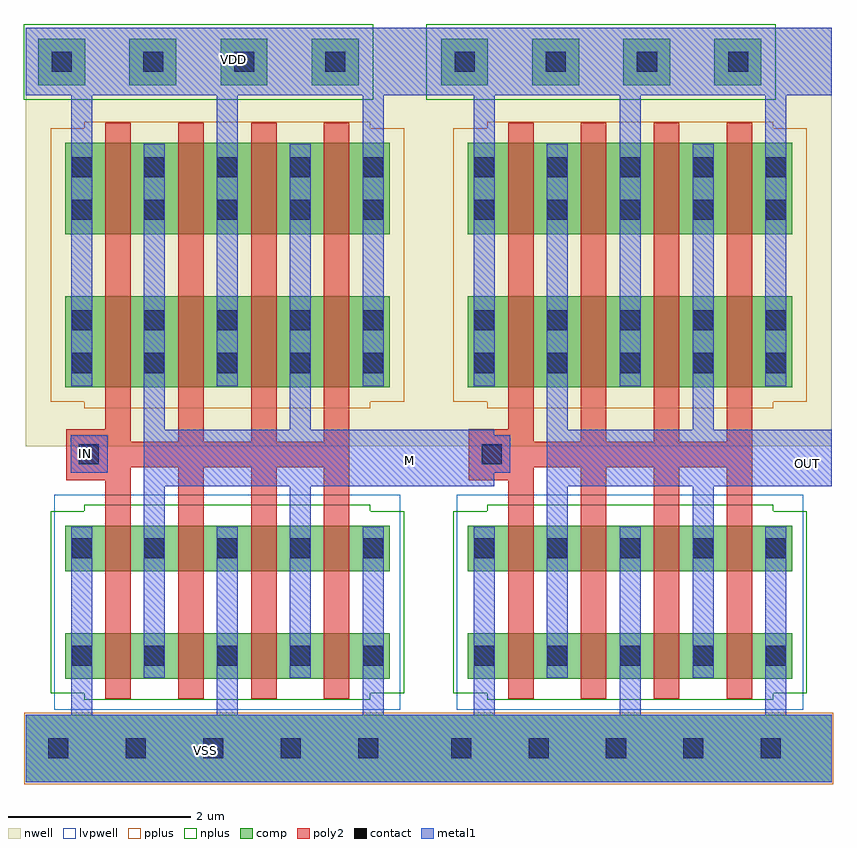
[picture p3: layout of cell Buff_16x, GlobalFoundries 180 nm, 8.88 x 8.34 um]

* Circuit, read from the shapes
.subckt Buff_16x IN M OUT VDD VSS
XM1 M IN VSS VSS nfet_03v3 w=0.5u l=0.28u m=8
XM2 OUT M VSS VSS nfet_03v3 w=0.5u l=0.28u m=8
XM3 M IN VDD VDD pfet_03v3 w=1u l=0.28u m=8
XM4 OUT M VDD VDD pfet_03v3 w=1u l=0.28u m=8
.ends

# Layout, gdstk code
import gdstk
lib = gdstk.Library(unit=1e-6, precision=1e-09)
def R(c, l, rs):  # rectangles x0, y0, x1, y1
    for r in rs: c.add(gdstk.rectangle(r[:2], r[2:], *l))
def A(c, l, x, y, w, h, nx, ny, dx, dy):  # array of equal rectangles
    R(c, l, [(x+i*dx, y+j*dy, x+i*dx+w, y+j*dy+h) for i in range(nx) for j in range(ny)])
nwell = (21, 0)
comp = (22, 0)
poly2 = (30, 0)
pplus = (31, 0)
nplus = (32, 0)
contact = (33, 0)
metal1 = (34, 0)
lvpwell = (204, 0)

pmos_3p3_mwbyar = lib.new_cell('pmos_3p3_MWBYAR')
R(pmos_3p3_mwbyar, nwell, [(-2.21,-1.99,2.21,1.99)])
R(pmos_3p3_mwbyar, comp, [(-1.78,-1.34,1.78,-0.34), (-1.78,0.34,1.78,1.34)])
A(pmos_3p3_mwbyar, poly2, -1.34, -1.56, 0.28, 1.44, 4, 2, 0.8, 1.68)
R(pmos_3p3_mwbyar, pplus, [(-1.57,-1.57,1.57,-1.5), (-1.94,-1.5,1.94,1.5), (-1.57,1.5,1.57,1.57)])
A(pmos_3p3_mwbyar, contact, -1.71, -1.185, 0.22, 0.22, 5, 2, 0.8, 0.47)
A(pmos_3p3_mwbyar, contact, -1.71, 0.495, 0.22, 0.22, 5, 2, 0.8, 0.47)
A(pmos_3p3_mwbyar, metal1, -1.715, -1.33, 0.23, 0.98, 5, 2, 0.8, 1.68)

nmos_3p3_megst2 = lib.new_cell('nmos_3p3_MEGST2')
R(nmos_3p3_megst2, comp, [(-1.78,-0.84,1.78,-0.34), (-1.78,0.34,1.78,0.84)])
A(nmos_3p3_megst2, poly2, -1.34, -1.06, 0.28, 0.94, 4, 2, 0.8, 1.18)
R(nmos_3p3_megst2, nplus, [(-1.57,-1.07,1.57,-1), (-1.94,-1,1.94,1), (-1.57,1,1.57,1.07)])
A(nmos_3p3_megst2, contact, -1.71, -0.7, 0.22, 0.22, 5, 2, 0.8, 1.18)
A(nmos_3p3_megst2, metal1, -1.715, -0.83, 0.23, 0.48, 5, 2, 0.8, 1.18)
R(nmos_3p3_megst2, lvpwell, [(-1.9,-1.18,1.9,1.18)])

inv_16x = lib.new_cell('Inv_16x')
A(inv_16x, nwell, 0.825, 6.855, 0.515, 0.015, 3, 1, 1, 0)
R(inv_16x, nwell, [(-0.31,6.87,4.11,7.485)])
A(inv_16x, comp, -0.175, 6.855, 0.515, 0.51, 4, 1, 1, 0)
R(inv_16x, comp, [(-0.31,-0.795,4.11,-0.055)])
R(inv_16x, poly2, [(2.96,1.015,3.24,2.66), (1.36,1.03,1.64,2.66), (0.56,1.04,0.84,2.52), (2.16,1.055,2.44,2.66), (0.13,2.52,0.84,2.66), (0.13,2.66,3.24,2.94), (0.13,2.94,0.84,3.08), (1.36,2.94,1.64,5.135), (2.16,2.94,2.44,5.13), (2.96,2.94,3.24,5.115), (0.56,3.08,0.84,5.06)])
R(inv_16x, pplus, [(-0.33,-0.815,4.13,-0.035)])
R(inv_16x, nplus, [(-0.335,6.695,3.5,7.525)])
A(inv_16x, contact, -0.065, -0.535, 0.22, 0.22, 5, 1, 0.85, 0)
A(inv_16x, contact, -0.025, 7, 0.22, 0.22, 4, 1, 1, 0)
R(inv_16x, contact, [(0.27,2.695,0.49,2.915)])
A(inv_16x, metal1, 0.185, -0.055, 0.23, 1.585, 3, 1, 1.6, 0)
A(inv_16x, metal1, 0.185, 4.53, 0.23, 2.215, 3, 1, 1.6, 0)
R(inv_16x, metal1, [(-0.31,-0.795,4.11,-0.055), (0.985,0.83,1.215,1.53), (2.585,0.83,2.815,1.53), (2.585,1.88,2.815,2.455), (0.985,1.925,1.215,2.455), (0.985,2.455,4.11,3.07), (0.18,2.6,0.585,3.01), (0.985,3.07,1.215,5.34), (2.585,3.07,2.815,5.34), (-0.31,6.745,4.11,7.485)])
inv_16x.add(gdstk.Reference(pmos_3p3_mwbyar, (1.9,4.88)))
inv_16x.add(gdstk.Reference(nmos_3p3_megst2, (1.9,1.18)))
inv_16x.add(gdstk.Label('VDD', (2.05,7.11), layer=22, texttype=0))
inv_16x.add(gdstk.Label('VSS', (1.73,-0.445), layer=22, texttype=0))
inv_16x.add(gdstk.Label('IN', (0.36,2.84), layer=30, texttype=10))
inv_16x.add(gdstk.Label('OUT', (3.72,2.72), layer=34, texttype=10))

buff_16x = lib.new_cell('Buff_16x')
R(buff_16x, metal1, [(0.83,-1.115,1.5,-0.445), (3.005,2.1,4.34,2.715), (5.625,2.1,8.04,2.715), (-0.3,2.275,0.06,2.615), (-0.26,6.39,7.745,7.06)])
buff_16x.add(gdstk.Reference(inv_16x, (-0.49,-0.355)))
buff_16x.add(gdstk.Reference(inv_16x, (3.93,-0.355)))
buff_16x.add(gdstk.Label('VDD', (1.475,6.775), layer=34, texttype=10))
buff_16x.add(gdstk.Label('VSS', (1.165,-0.805), layer=34, texttype=10))
buff_16x.add(gdstk.Label('IN', (-0.145,2.455), layer=34, texttype=10))
buff_16x.add(gdstk.Label('OUT', (7.775,2.345), layer=34, texttype=10))
buff_16x.add(gdstk.Label('M', (3.41,2.375), layer=34, texttype=10))

lib.write_gds('Buff_16x.gds')
